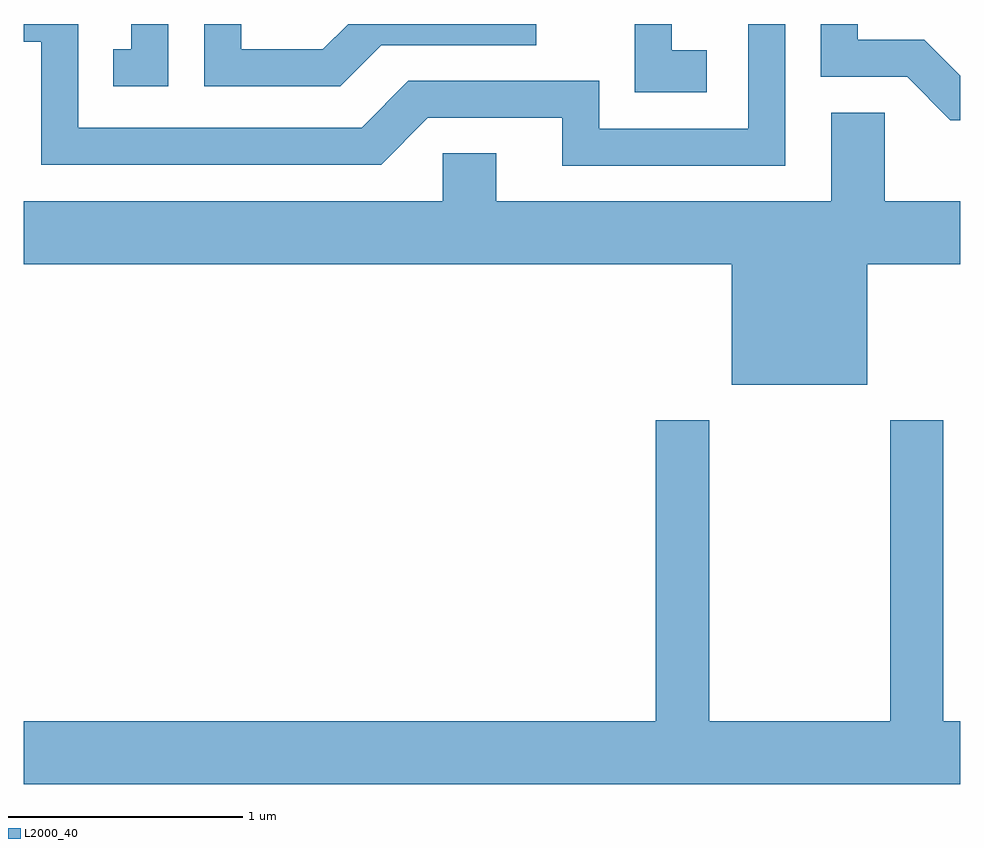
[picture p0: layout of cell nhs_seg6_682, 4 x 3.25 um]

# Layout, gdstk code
import gdstk
lib = gdstk.Library(unit=1e-6, precision=1e-09)
def P(c, l, *ps):  # polygons
    for p in ps: c.add(gdstk.Polygon(p, *l))
L2000_40 = (2000, 40)

nhs_seg6_682 = lib.new_cell('nhs_seg6_682')
P(nhs_seg6_682, L2000_40, [(208.529,1562.049),(208.379,1562.049),(208.379,1562.162),(208.221,1562.162),(208.221,1561.871),(208.529,1561.871)],
  [(208.864,1562.162),(208.706,1562.162),(208.706,1561.714),(208.069,1561.714),(208.069,1561.919),(207.254,1561.919),(207.054,1561.719),(205.844,1561.719),(205.844,1562.162),(205.611,1562.162),(205.611,1562.086),(205.686,1562.086),(205.686,1561.561),(207.137,1561.561),(207.337,1561.761),(207.911,1561.761),(207.911,1561.556),(208.864,1561.556)],
  [(209.611,1561.94),(209.457,1562.094),(209.174,1562.094),(209.174,1562.162),(209.016,1562.162),(209.016,1561.936),(209.384,1561.936),(209.569,1561.751),(209.611,1561.751)],
  [(206.229,1562.162),(206.071,1562.162),(206.071,1562.054),(205.993,1562.054),(205.993,1561.896),(206.229,1561.896)],
  [(207.137,1562.071),(207.799,1562.071),(207.799,1562.162),(206.997,1562.162),(206.889,1562.054),(206.539,1562.054),(206.539,1562.162),(206.381,1562.162),(206.381,1561.896),(206.962,1561.896)],
  [(209.214,1561.136),(209.611,1561.136),(209.611,1561.404),(209.289,1561.404),(209.289,1561.784),(209.061,1561.784),(209.061,1561.404),(207.629,1561.404),(207.629,1561.609),(207.401,1561.609),(207.401,1561.404),(205.611,1561.404),(205.611,1561.136),(208.636,1561.136),(208.636,1560.621),(209.214,1560.621)],
  [(209.611,1559.184),(209.539,1559.184),(209.539,1560.469),(209.311,1560.469),(209.311,1559.184),(208.539,1559.184),(208.539,1560.469),(208.311,1560.469),(208.311,1559.184),(205.611,1559.184),(205.611,1558.916),(209.611,1558.916)])

lib.write_gds('nhs_seg6_682.gds')
